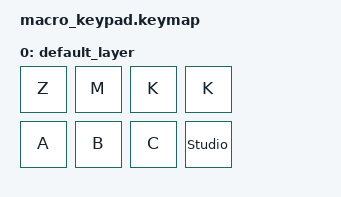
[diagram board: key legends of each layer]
#include <behaviors.dtsi>
#include <dt-bindings/zmk/keys.h>

/ {
    keymap {
        compatible = "zmk,keymap";

        default_layer { // Layer 0
            // -------------------------------------
            // |     Z     |     M     |     K     |      K     |
            // |     A     |     B     |     C     |   unlock   |
            bindings = <
                &kp Z    &kp M    &kp K    &kp K
                &kp A    &kp B    &kp C    &studio_unlock
            >;
        };
    };
 };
